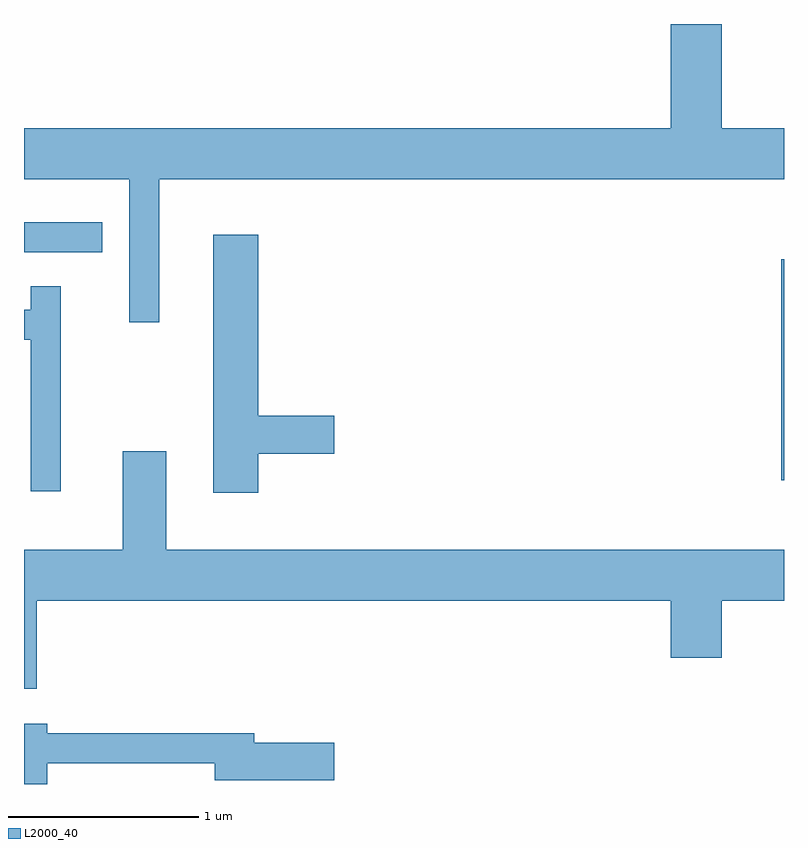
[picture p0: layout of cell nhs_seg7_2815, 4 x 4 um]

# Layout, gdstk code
import gdstk
lib = gdstk.Library(unit=1e-6, precision=1e-09)
def R(c, l, rs):  # rectangles x0, y0, x1, y1
    for r in rs: c.add(gdstk.rectangle(r[:2], r[2:], *l))
def P(c, l, *ps):  # polygons
    for p in ps: c.add(gdstk.Polygon(p, *l))
L2000_40 = (2000, 40)

nhs_seg7_2815 = lib.new_cell('nhs_seg7_2815')
R(nhs_seg7_2815, L2000_40, [(275.596,1703.851,275.611,1705.014), (271.611,1705.051,272.023,1705.209)])
P(nhs_seg7_2815, L2000_40, [(272.324,1705.436),(275.611,1705.436),(275.611,1705.704),(275.284,1705.704),(275.284,1706.252),(275.016,1706.252),(275.016,1705.704),(271.611,1705.704),(271.611,1705.436),(272.166,1705.436),(272.166,1704.683),(272.324,1704.683)],
  [(272.844,1703.991),(273.244,1703.991),(273.244,1704.189),(272.844,1704.189),(272.844,1705.144),(272.606,1705.144),(272.606,1703.786),(272.844,1703.786)],
  [(271.804,1704.873),(271.646,1704.873),(271.646,1704.749),(271.611,1704.749),(271.611,1704.591),(271.646,1704.591),(271.646,1703.793),(271.804,1703.793)],
  [(271.679,1703.216),(275.016,1703.216),(275.016,1702.916),(275.284,1702.916),(275.284,1703.216),(275.611,1703.216),(275.611,1703.484),(272.359,1703.484),(272.359,1704.004),(272.131,1704.004),(272.131,1703.484),(271.611,1703.484),(271.611,1702.753),(271.679,1702.753)],
  [(271.734,1702.361),(272.616,1702.361),(272.616,1702.271),(273.244,1702.271),(273.244,1702.469),(272.824,1702.469),(272.824,1702.519),(271.734,1702.519),(271.734,1702.569),(271.611,1702.569),(271.611,1702.252),(271.734,1702.252)])

lib.write_gds('nhs_seg7_2815.gds')
